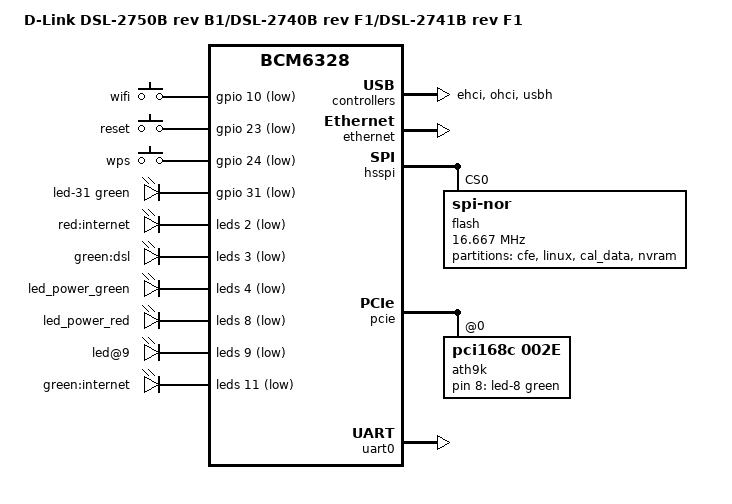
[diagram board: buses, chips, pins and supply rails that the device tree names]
#include "bcm6328.dtsi"

/ {
	model = "D-Link DSL-2750B rev B1/DSL-2740B rev F1/DSL-2741B rev F1";
	compatible = "dlink,dsl-2750b-b1", "brcm,bcm6328";

	aliases {
		led-boot = &led_power_green;
		led-failsafe = &led_power_red;
		led-running = &led_power_green;
		led-upgrade = &led_power_green;
	};

	keys {
		compatible = "gpio-keys-polled";
		poll-interval = <100>;

		wifi {
			label = "wifi";
			gpios = <&gpio 10 GPIO_ACTIVE_LOW>;
			linux,code = <KEY_WLAN>;
			debounce-interval = <60>;
		};

		reset {
			label = "reset";
			gpios = <&gpio 23 GPIO_ACTIVE_LOW>;
			linux,code = <KEY_RESTART>;
			debounce-interval = <60>;
		};

		wps {
			label = "wps";
			gpios = <&gpio 24 GPIO_ACTIVE_LOW>;
			linux,code = <KEY_WPS_BUTTON>;
			debounce-interval = <60>;
		};
	};

	leds {
		compatible = "gpio-leds";

		led-31 {
			function = LED_FUNCTION_USB;
			color = <LED_COLOR_ID_GREEN>;
			gpios = <&gpio 31 GPIO_ACTIVE_LOW>;
			trigger-sources = <&ehci_port1>;
			linux,default-trigger = "usbport";
		};
	};

	ath9k-leds {
		compatible = "gpio-leds";

		led-8 {
			function = LED_FUNCTION_WLAN;
			color = <LED_COLOR_ID_GREEN>;
			gpios = <&ath9k 8 GPIO_ACTIVE_HIGH>;
			linux,default-trigger = "phy0tpt";
		};
	};
};

&leds {
	status = "okay";
	
	pinctrl-names = "default";
	pinctrl-0 = <&pinctrl_leds>;

	led@2 {
		reg = <2>;
		active-low;
		label = "red:internet";
	};

	led@3 {
		reg = <3>;
		active-low;
		label = "green:dsl";
	};

	led_power_green: led@4 {
		reg = <4>;
		active-low;
		function = LED_FUNCTION_POWER;
		color = <LED_COLOR_ID_GREEN>;
	};

	led_power_red: led@8 {
		reg = <8>;
		active-low;
		function = LED_FUNCTION_POWER;
		color = <LED_COLOR_ID_RED>;
		panic-indicator;
	};

	led@9 {
		reg = <9>;
		active-low;
		function = LED_FUNCTION_WPS;
		color = <LED_COLOR_ID_BLUE>;
	};

	led@11 {
		reg = <11>;
		active-low;
		label = "green:internet";
	};
};

&ehci {
	status = "okay";

	#address-cells = <1>;
	#size-cells = <0>;

	ehci_port1: port@1 {
		reg = <1>;
		#trigger-source-cells = <0>;
	};
};

&ethernet {
	status = "okay";

	nvmem-cells = <&macaddr_cfe_6a0 0>;
	nvmem-cell-names = "mac-address";
};

&hsspi {
	status = "okay";

	flash@0 {
		compatible = "jedec,spi-nor";
		spi-max-frequency = <16666667>;
		spi-tx-bus-width = <2>;
		spi-rx-bus-width = <2>;
		reg = <0>;

		#address-cells = <1>;
		#size-cells = <1>;

		partitions {
			compatible = "fixed-partitions";
			#address-cells = <1>;
			#size-cells = <1>;

			partition@0 {
				reg = <0x000000 0x010000>;
				label = "cfe";
				read-only;

				nvmem-layout {
					compatible = "fixed-layout";
					#address-cells = <1>;
					#size-cells = <1>;

					macaddr_cfe_6a0: macaddr@6a0 {
						compatible = "mac-base";
						reg = <0x6a0 0x6>;
						#nvmem-cell-cells = <1>;
					};
				};
			};

			partition@10000 {
				reg = <0x010000 0x7c0000>;
				label = "linux";
				compatible = "brcm,bcm963xx-imagetag";
			};

			partition@7d0000 {
				reg = <0x7d0000 0x010000>;
				label = "cal_data";
				read-only;

				nvmem-layout {
					compatible = "fixed-layout";
					#address-cells = <1>;
					#size-cells = <1>;

					cal_data_1000: calibration@1000 {
						reg = <0x1000 0x3d8>;
					};
				};
			};

			partition@7e0000 {
				reg = <0x7e0000 0x020000>;
				label = "nvram";
			};
		};
	};
};

&ohci {
	status = "okay";
};

&pcie {
	status = "okay";

	pcie@0 {
		reg = <0 0 0 0 0>;
		#interrupt-cells = <1>;
		#size-cells = <2>;
		#address-cells = <3>;
		device_type = "pci";

		ath9k: wifi@168c,002e {
			compatible = "pci168c,002e";
			reg = <0 0 0 0 0>;

			nvmem-cells = <&macaddr_cfe_6a0 1>, <&cal_data_1000>;
			nvmem-cell-names = "mac-address", "calibration";
			
			#gpio-cells = <2>;
			gpio-controller;
		};
	};
};

&pinctrl {
	pinctrl_leds: leds {
		function = "led";
		pins = "gpio2", "gpio3", "gpio4",
		       "gpio8", "gpio9", "gpio11";
	};
};

&switch0 {
	ports {
		port@0 {
			reg = <0>;
			label = "lan1";

			phy-handle = <&phy1>;
			phy-mode = "mii";
		};

		port@1 {
			reg = <1>;
			label = "lan2";

			phy-handle = <&phy2>;
			phy-mode = "mii";
		};

		port@2 {
			reg = <2>;
			label = "lan3";

			phy-handle = <&phy3>;
			phy-mode = "mii";
		};

		port@3 {
			reg = <3>;
			label = "lan4";

			phy-handle = <&phy4>;
			phy-mode = "mii";
		};
	};
};

&uart0 {
	status = "okay";
};

&usbh {
	status = "okay";
};
